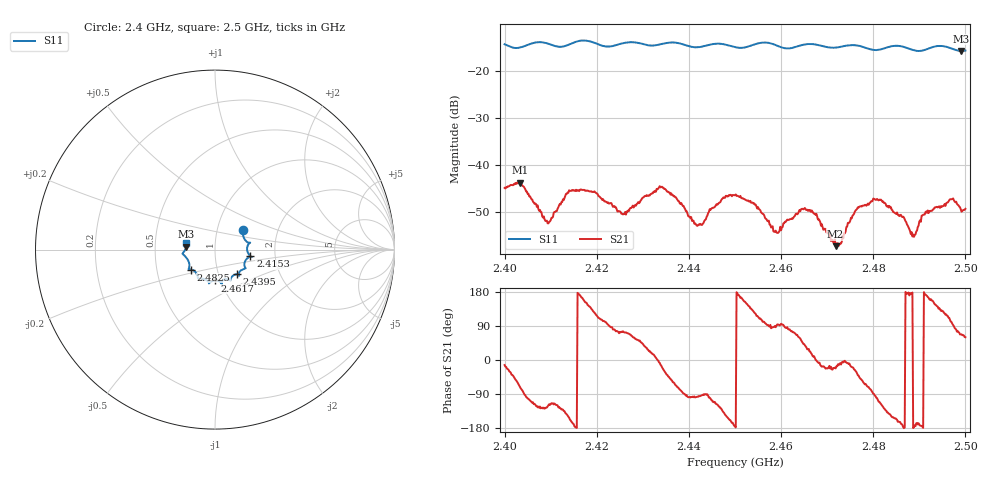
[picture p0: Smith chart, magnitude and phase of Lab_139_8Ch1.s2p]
# Hz S RI R 50
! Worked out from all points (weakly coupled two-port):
!   601 points, 2.4 GHz to 2.5 GHz, reference 50 ohm
!   highest |S21| = -43.79 dB at 2.4033 GHz (marker M1); lowest = -57.3 dB at 2.4718 GHz (marker M2)
!   lowest |S11| = -15.9 dB at 2.499 GHz (marker M3), VSWR 1.38, Z = 36.2 + j1.28 ohm
!   |S11| at or under -10 dB: start of sweep to end of sweep
!   S12 and S22 are empty: the file has one direction only
!   S11 on the Smith chart (normalised r, x): 2.4 GHz: 1.33, +0.30; 2.4153 GHz: 1.49, -0.11; 2.4395 GHz: 1.23, -0.35; 2.4617 GHz: 0.94, -0.33; 2.4825 GHz: 0.75, -0.17; 2.5 GHz: 0.72, +0.05
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2.4e9  0.156 0.1088  0.00552 -0.00131  0 0  0 0
2.403333e9  0.1662 0.0556  0.00215 -0.00609  0 0  0 0
2.409333e9  0.1905 0.0355  -0.00128 -0.00202  0 0  0 0
2.415333e9  0.1974 -0.037  -0.00526 -0.000278  0 0  0 0
2.416667e9  0.204 -0.0415  -0.00525 0.00141  0 0  0 0
2.425833e9  0.1681 -0.1007  0.000811 0.00288  0 0  0 0
2.433333e9  0.1327 -0.1331  0.00557 -0.000153  0 0  0 0
2.4395e9  0.1228 -0.1378  -0.000169 -0.0032  0 0  0 0
2.442333e9  0.0955 -0.1497  -0.000223 -0.0023  0 0  0 0
2.45e9  0.0666 -0.1646  -0.00474 -0.000385  0 0  0 0
2.458833e9  0.0328 -0.1834  0.000122 0.00199  0 0  0 0
2.461667e9  0.000492 -0.1718  0.000418 0.00256  0 0  0 0
2.466667e9  -0.0337 -0.1883  0.00315 0.000865  0 0  0 0
2.471833e9  -0.0654 -0.1625  0.00126 -0.000515  0 0  0 0
2.476667e9  -0.095 -0.1575  0.0027 -0.00229  0 0  0 0
2.4825e9  -0.1322 -0.1112  -0.0025 -0.00304  0 0  0 0
2.483333e9  -0.1395 -0.1103  -0.00274 -0.00221  0 0  0 0
2.488667e9  -0.1429 -0.082  -0.00182 -8.88e-06  0 0  0 0
2.491333e9  -0.1603 -0.044  -0.00311 0.000403  0 0  0 0
2.497e9  -0.1712 -0.00978  -0.000739 0.00424  0 0  0 0
2.499e9  -0.1601 0.0172  0.00128 0.0031  0 0  0 0
2.5e9  -0.1593 0.0349  0.0017 0.00294  0 0  0 0
